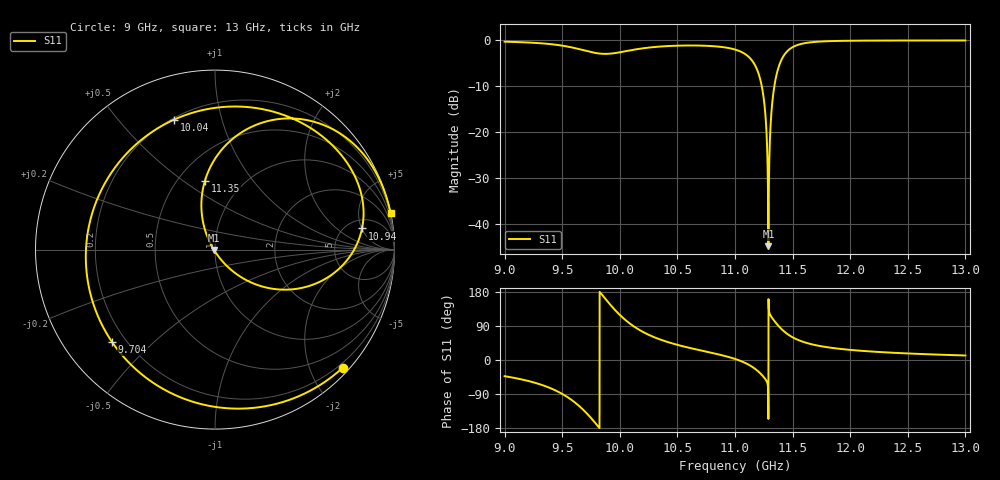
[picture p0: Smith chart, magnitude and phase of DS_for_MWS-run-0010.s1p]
! TOUCHSTONE file generated by CST DESIGN STUDIO
! Date and time: Tue Feb  4 14:37:10 2025
! Project name: C:\Work\MatlabApps\UnitCellOptimizationMatlab\CST\unitcell.cst
! Tree item: Tasks\Sweep1\SPara1\S-Parameters
! Header version: 2024
! Port assignment regex: !\s*Touchstone port\s*([0-9]+)\s*=\s*(CST MWS port|CST DES external port|CST DES block port)\s*(.+)\s* \(\"(.*)\"\)(\s*mode\s*([0-9]+))?.*
! Touchstone port assignment:
! Touchstone port 1 = CST DES external port 1 ("")
# GHz S MA R 50
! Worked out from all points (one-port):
!   4001 points, 9 GHz to 13 GHz, reference 50 ohm
!   lowest |S11| = -44.9 dB at 11.29 GHz (marker M1), VSWR 1.01, Z = 49.5 - j0.232 ohm
!   |S11| at or under -10 dB: 11.23 GHz to 11.34 GHz (108.8 MHz wide, 0.964 % of centre)
!   S11 on the Smith chart (normalised r, x): 9 GHz: 0.12, -2.55; 9.704 GHz: 0.15, -0.38; 10.04 GHz: 0.21, +0.71; 10.94 GHz: 6.77, +5.05; 11.35 GHz: 0.67, +0.61; 13 GHz: 0.02, +9.60
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9  0.9691 -42.7
9.278  0.9385 -61.4
9.5  0.8775 -89.5
9.608  0.826 -111.5
9.704  0.771 -137.9
9.844  0.7155 172.8
10  0.7424 119.0
10.041  0.759 107.6
10.258  0.8374 65.5
10.5  0.8767 40.0
10.942  0.8276 8.2
11  0.7957 2.8
11.116  0.6671 -12.0
11.208  0.4211 -31.9
11.251  0.2244 -45.6
11.264  0.1535 -50.8
11.276  0.08417 -56.8
11.29  0.005674 -155.6
11.304  0.08797 120.1
11.315  0.1566 114.3
11.325  0.2184 109.8
11.354  0.3874 98.3
11.421  0.6754 76.8
11.5  0.8449 59.9
11.684  0.9615 40.2
12  0.9928 26.7
12.5  0.9988 17.3
13  0.9997 11.9
